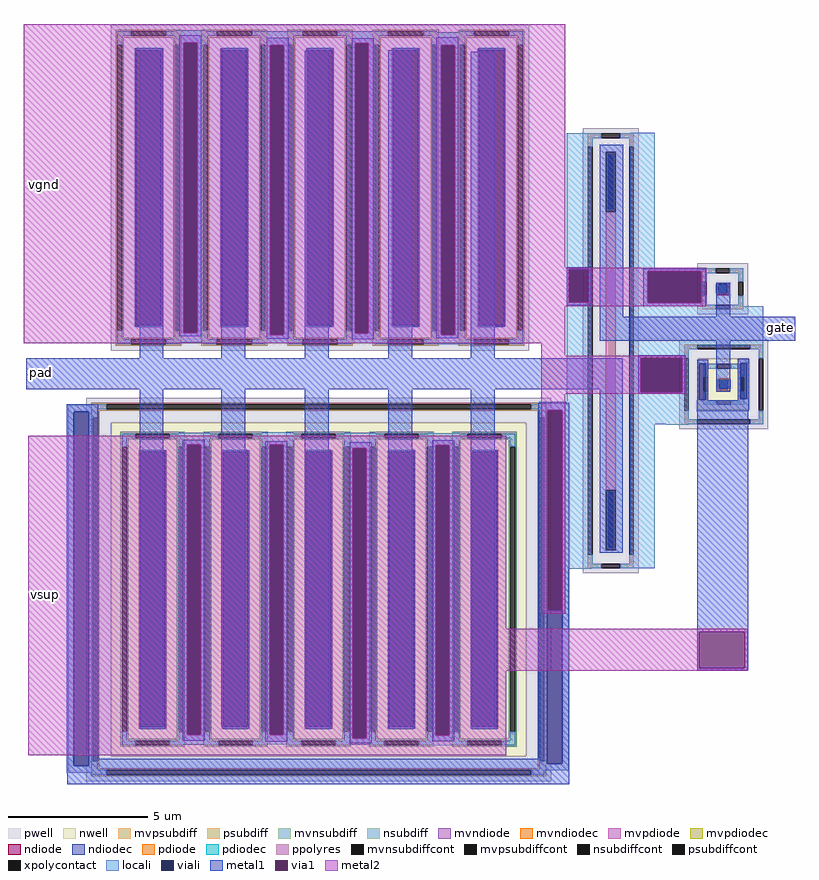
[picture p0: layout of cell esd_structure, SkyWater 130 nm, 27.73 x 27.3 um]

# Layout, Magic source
magic
tech sky130A
magscale 1 2
<< locali >>
rect -3804 2478 -3582 2570
rect -3804 396 -3740 2478
rect -3644 396 -3582 2478
rect -3804 328 -3582 396
rect -3176 2462 -2954 2562
rect -3176 380 -3118 2462
rect -3022 380 -2954 2462
rect -3176 320 -2954 380
rect -2564 2474 -2342 2562
rect -2564 392 -2510 2474
rect -2414 392 -2342 2474
rect -2564 320 -2342 392
rect -1958 2462 -1736 2554
rect -1958 380 -1890 2462
rect -1794 380 -1736 2462
rect -1958 312 -1736 380
rect -990 852 -814 1830
rect -990 614 -974 852
rect -830 614 -814 852
rect -990 -100 -814 614
rect -4572 -172 -4360 -120
rect -4572 -2714 -4532 -172
rect -4422 -2714 -4360 -172
rect -1186 -160 -814 -100
rect -3776 -410 -3554 -322
rect -3776 -2492 -3714 -410
rect -3618 -2492 -3554 -410
rect -3776 -2564 -3554 -2492
rect -3176 -410 -2954 -318
rect -3176 -2492 -3122 -410
rect -3026 -2492 -2954 -410
rect -3176 -2560 -2954 -2492
rect -2584 -434 -2362 -322
rect -2584 -2516 -2526 -434
rect -2430 -2516 -2362 -434
rect -2584 -2564 -2362 -2516
rect -1984 -414 -1762 -326
rect -1984 -2496 -1930 -414
rect -1834 -2496 -1762 -414
rect -1984 -2568 -1762 -2496
rect -4572 -2766 -4360 -2714
rect -1186 -2702 -1130 -160
rect -1020 -1298 -814 -160
rect -534 862 -358 1832
rect -534 860 -134 862
rect -534 836 -6 860
rect -534 610 -408 836
rect -22 610 -6 836
rect -534 588 -6 610
rect -534 294 424 588
rect -534 218 -118 294
rect -534 -30 -458 218
rect -158 -30 -118 218
rect -534 -260 -118 -30
rect -52 174 26 202
rect -52 -84 -38 174
rect 8 -84 26 174
rect -52 -88 26 -84
rect 240 178 318 208
rect 240 -80 258 178
rect 304 -80 318 178
rect 240 -88 318 -80
rect -54 -168 318 -88
rect -534 -1296 -358 -260
rect -276 -264 -118 -260
rect -1020 -2702 -974 -1298
rect -1186 -2746 -974 -2702
<< viali >>
rect -3740 396 -3644 2478
rect -3118 380 -3022 2462
rect -2510 392 -2414 2474
rect -1890 380 -1794 2462
rect -974 614 -830 852
rect -4532 -2714 -4422 -172
rect -3714 -2492 -3618 -410
rect -3122 -2492 -3026 -410
rect -2526 -2516 -2430 -434
rect -1930 -2496 -1834 -414
rect -1130 -2702 -1020 -160
rect -408 610 -22 836
rect -458 -30 -158 218
rect -38 -84 8 174
rect 258 -80 304 178
<< metal1 >>
rect -3772 2478 -3614 2534
rect -4058 214 -3888 2438
rect -3772 396 -3740 2478
rect -3644 396 -3614 2478
rect -3144 2462 -2986 2514
rect -3772 372 -3614 396
rect -3470 214 -3300 2422
rect -3144 380 -3118 2462
rect -3022 380 -2986 2462
rect -2534 2474 -2376 2510
rect -3144 352 -2986 380
rect -2870 214 -2700 2422
rect -2534 392 -2510 2474
rect -2414 392 -2376 2474
rect -1926 2462 -1768 2518
rect -2534 348 -2376 392
rect -2270 214 -2100 2426
rect -1926 380 -1890 2462
rect -1794 380 -1768 2462
rect -1926 356 -1768 380
rect -1678 214 -1508 2414
rect -990 852 -812 868
rect -990 614 -974 852
rect -830 614 -812 852
rect -990 592 -812 614
rect -754 512 -582 1748
rect -438 836 10 856
rect -438 610 -408 836
rect -22 610 10 836
rect -438 588 10 610
rect 86 512 186 756
rect -754 340 654 512
rect -476 218 -138 234
rect -4874 210 -598 214
rect -4874 -10 -586 210
rect -4580 -172 -4356 -116
rect -4580 -2714 -4532 -172
rect -4422 -2666 -4356 -172
rect -4058 -2420 -3888 -10
rect -3748 -410 -3590 -374
rect -3748 -2492 -3714 -410
rect -3618 -2492 -3590 -410
rect -3470 -2436 -3300 -10
rect -3156 -410 -2998 -382
rect -3748 -2536 -3590 -2492
rect -3156 -2492 -3122 -410
rect -3026 -2492 -2998 -410
rect -2870 -2436 -2700 -10
rect -2548 -434 -2390 -390
rect -3156 -2544 -2998 -2492
rect -2548 -2516 -2526 -434
rect -2430 -2516 -2390 -434
rect -2270 -2432 -2100 -10
rect -1954 -414 -1796 -378
rect -2548 -2552 -2390 -2516
rect -1954 -2496 -1930 -414
rect -1834 -2496 -1796 -414
rect -1678 -2444 -1508 -10
rect -1194 -160 -970 -108
rect -1954 -2540 -1796 -2496
rect -1194 -2666 -1130 -160
rect -4422 -2702 -1130 -2666
rect -1020 -2452 -970 -160
rect -754 -1184 -586 -10
rect -476 -30 -458 218
rect -158 -30 -138 218
rect -476 -44 -138 -30
rect -52 174 26 202
rect -52 -84 -38 174
rect 8 -84 26 174
rect 86 -28 186 340
rect 240 178 318 208
rect -52 -88 26 -84
rect 240 -80 258 178
rect 304 -80 318 178
rect 240 -88 318 -80
rect -54 -168 318 -88
rect -52 -1752 316 -168
rect -52 -2014 -36 -1752
rect 290 -2014 316 -1752
rect -52 -2028 316 -2014
rect -1020 -2702 -972 -2452
rect -4422 -2714 -972 -2702
rect -4580 -2770 -972 -2714
rect -4578 -2846 -972 -2770
<< via1 >>
rect -3740 396 -3644 2478
rect -3118 380 -3022 2462
rect -2510 392 -2414 2474
rect -1890 380 -1794 2462
rect -974 614 -830 852
rect -408 610 -22 836
rect -3714 -2492 -3618 -410
rect -3122 -2492 -3026 -410
rect -2526 -2516 -2430 -434
rect -1930 -2496 -1834 -414
rect -1130 -1600 -1020 -160
rect -458 -30 -158 218
rect -36 -2014 290 -1752
<< metal2 >>
rect -4892 2478 -1000 2614
rect -4892 396 -3740 2478
rect -3644 2474 -1000 2478
rect -3644 2462 -2510 2474
rect -3644 396 -3118 2462
rect -4892 380 -3118 396
rect -3022 392 -2510 2462
rect -2414 2462 -1000 2474
rect -2414 392 -1890 2462
rect -3022 380 -1890 392
rect -1794 864 -1000 2462
rect -1794 852 12 864
rect -1794 614 -974 852
rect -830 836 12 852
rect -830 614 -408 836
rect -1794 610 -408 614
rect -22 610 12 836
rect -1794 588 12 610
rect -1794 380 -1000 588
rect -4892 320 -1000 380
rect -1174 232 -1000 320
rect -1174 218 -136 232
rect -1174 -30 -458 218
rect -158 -30 -136 218
rect -1174 -44 -136 -30
rect -1174 -160 -1000 -44
rect -4858 -410 -1424 -344
rect -4858 -2492 -3714 -410
rect -3618 -2492 -3122 -410
rect -3026 -414 -1424 -410
rect -3026 -434 -1930 -414
rect -3026 -2492 -2526 -434
rect -4858 -2516 -2526 -2492
rect -2430 -2496 -1930 -434
rect -1834 -1730 -1424 -414
rect -1174 -1600 -1130 -160
rect -1020 -1600 -1000 -160
rect -1174 -1624 -1000 -1600
rect -1834 -1752 312 -1730
rect -1834 -2014 -36 -1752
rect 290 -2014 312 -1752
rect -1834 -2034 312 -2014
rect -1834 -2496 -1424 -2034
rect -2430 -2516 -1424 -2496
rect -4858 -2638 -1424 -2516
use sky130_fd_pr__diode_pd2nw_05v5_K4SERG  sky130_fd_pr__diode_pd2nw_05v5_K4SERG_0
transform 1 0 139 0 1 25
box -321 -321 321 321
use sky130_fd_pr__diode_pd2nw_11v0_PWJNKD  sky130_fd_pr__diode_pd2nw_11v0_PWJNKD_0
transform 1 0 -2772 0 1 -1448
box -1670 -1378 1670 1378
use sky130_fd_pr__diode_pw2nd_05v5_FT76RJ  sky130_fd_pr__diode_pw2nd_05v5_FT76RJ_0
transform 1 0 131 0 1 711
box -183 -183 183 183
use sky130_fd_pr__diode_pw2nd_11v0_2UARL4  sky130_fd_pr__diode_pw2nd_11v0_2UARL4_0
transform 1 0 -2762 0 1 1438
box -1504 -1172 1504 1172
use sky130_fd_pr__res_high_po_0p35_JFN4DV  sky130_fd_pr__res_high_po_0p35_JFN4DV_0
transform 1 0 -673 0 1 266
box -201 -1598 201 1598
<< labels >>
rlabel metal2 -4840 368 -4648 2548 1 vgnd
port 2 n
rlabel metal1 452 368 638 494 1 gate
port 3 n
rlabel metal1 -4862 16 -4670 208 1 pad
port 1 n
rlabel metal2 -4828 -2572 -4636 -392 1 vsup
port 0 n
<< end >>

# cell sky130_fd_pr__diode_pd2nw_05v5_K4SERG: kit device sky130_fd_pr__diode_pd2nw_05v5, w 0.45 l 0.45 area 202.5m peri 1.8 nx 1 ny 1 dummy 0 lmin 0.45 wmin 0.45 elc 1 erc 1 etc 1 ebc 1 glc 1 grc 1 gtc 1 gbc 1 doverlap 0 compatible {sky130_fd_pr__diode_pd2nw_05v5 sky130_fd_pr__diode_pd2nw_05v5_lvt sky130_fd_pr__diode_pd2nw_05v5_hvt sky130_fd_pr__diode_pd2nw_11v0} full_metal 1 vias 1 viagb 0 viagt 0 viagl 0 viagr 0

# cell sky130_fd_pr__diode_pd2nw_11v0_PWJNKD: kit device sky130_fd_pr__diode_pd2nw_11v0, w 1 l 10 area 10.0 peri 22.0 nx 5 ny 1 dummy 0 lmin 0.45 wmin 0.45 elc 1 erc 1 etc 1 ebc 1 glc 1 grc 1 gtc 1 gbc 1 doverlap 0 compatible {sky130_fd_pr__diode_pd2nw_05v5 sky130_fd_pr__diode_pd2nw_05v5_lvt sky130_fd_pr__diode_pd2nw_05v5_hvt sky130_fd_pr__diode_pd2nw_11v0} full_metal 1 vias 1 viagb 0 viagt 0 viagl 0 viagr 0

# cell sky130_fd_pr__diode_pw2nd_05v5_FT76RJ: kit device sky130_fd_pr__diode_pw2nd_05v5, w 0.45 l 0.45 area 202.5m peri 1.8 nx 1 ny 1 dummy 0 lmin 0.45 wmin 0.45 elc 1 erc 1 etc 1 ebc 1 doverlap 0 compatible {sky130_fd_pr__diode_pw2nd_05v5 sky130_fd_pr__diode_pw2nd_05v5_lvt sky130_fd_pr__diode_pw2nd_05v5_nvt sky130_fd_pr__diode_pw2nd_11v0} full_metal 1 vias 1 viagb 0 viagt 0 viagl 0 viagr 0

# cell sky130_fd_pr__diode_pw2nd_11v0_2UARL4: kit device sky130_fd_pr__diode_pw2nd_11v0, w 1 l 10 area 10.0 peri 22.0 nx 5 ny 1 dummy 0 lmin 0.45 wmin 0.45 elc 1 erc 1 etc 1 ebc 1 doverlap 0 compatible {sky130_fd_pr__diode_pw2nd_05v5 sky130_fd_pr__diode_pw2nd_05v5_lvt sky130_fd_pr__diode_pw2nd_05v5_nvt sky130_fd_pr__diode_pw2nd_11v0} full_metal 1 vias 1 viagb 0 viagt 0 viagl 0 viagr 0

# cell sky130_fd_pr__res_high_po_0p35_JFN4DV: kit device sky130_fd_pr__res_high_po_0p35, w 0.35 l 10 m 1 nx 1 wmin 0.350 lmin 0.50 rho 319.8 val 10.25k dummy 0 dw 0.0 term 194.82 sterm 0.0 caplen 0 guard 1 glc 1 grc 1 gtc 1 gbc 1 compatible {sky130_fd_pr__res_high_po_0p35 sky130_fd_pr__res_high_po_0p69 sky130_fd_pr__res_high_po_1p41 sky130_fd_pr__res_high_po_2p85 sky130_fd_pr__res_high_po_5p73} snake 0 full_metal 1 wmax 0.350 vias 1 n_guard 0 hv_guard 0 viagb 0 viagt 0 viagl 0 viagr 0
